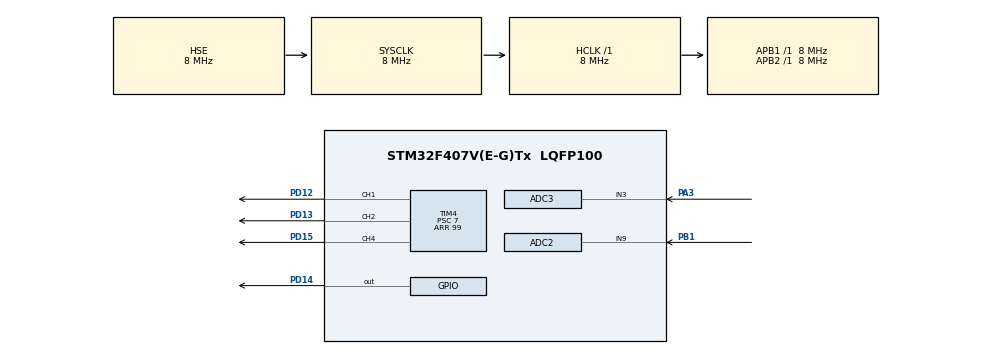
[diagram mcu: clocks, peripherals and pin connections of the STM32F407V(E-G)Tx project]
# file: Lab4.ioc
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ADC1.Channel-0\#ChannelRegularConversion=ADC_CHANNEL_TEMPSENSOR
ADC1.ContinuousConvMode=ENABLE
ADC1.EOCSelection=ADC_EOC_SEQ_CONV
ADC1.NbrOfConversionFlag=1
ADC1.Rank-0\#ChannelRegularConversion=1
ADC1.SamplingTime-0\#ChannelRegularConversion=ADC_SAMPLETIME_480CYCLES
ADC1.master=1
ADC2.Channel-0\#ChannelRegularConversion=ADC_CHANNEL_9
ADC2.EOCSelection=ADC_EOC_SEQ_CONV
ADC2.NbrOfConversionFlag=1
ADC2.Rank-0\#ChannelRegularConversion=1
ADC2.SamplingTime-0\#ChannelRegularConversion=ADC_SAMPLETIME_480CYCLES
ADC3.Channel-0\#ChannelRegularConversion=ADC_CHANNEL_3
ADC3.EOCSelection=ADC_EOC_SEQ_CONV
ADC3.NbrOfConversionFlag=1
ADC3.Rank-0\#ChannelRegularConversion=1
ADC3.SamplingTime-0\#ChannelRegularConversion=ADC_SAMPLETIME_480CYCLES
Mcu.Family=STM32F4
Mcu.Name=STM32F407V(E-G)Tx
Mcu.Package=LQFP100
NVIC.PriorityGroup=NVIC_PRIORITYGROUP_4
NVIC.TIM3_IRQn=true\:0\:0\:false\:false\:true\:true\:true
PA3.Signal=ADCx_IN3
PB1.Signal=ADCx_IN9
PD12.Signal=S_TIM4_CH1
PD13.Signal=S_TIM4_CH2
PD14.GPIO_PuPd=GPIO_PULLDOWN
PD14.Signal=GPIO_Output
PD15.Signal=S_TIM4_CH4
PH0-OSC_IN.Mode=HSE-External-Oscillator
PH0-OSC_IN.Signal=RCC_OSC_IN
PH1-OSC_OUT.Mode=HSE-External-Oscillator
PH1-OSC_OUT.Signal=RCC_OSC_OUT
ProjectManager.HeapSize=0x200
ProjectManager.StackSize=0x400
ProjectManager.TargetToolchain=STM32CubeIDE
RCC.48MHZClocksFreq_Value=24000000
RCC.AHBFreq_Value=8000000
RCC.APB1Freq_Value=8000000
RCC.APB1TimFreq_Value=8000000
RCC.APB2Freq_Value=8000000
RCC.APB2TimFreq_Value=8000000
RCC.CortexFreq_Value=8000000
RCC.HCLKFreq_Value=8000000
RCC.HSE_VALUE=8000000
RCC.HSI_VALUE=16000000
RCC.LSE_VALUE=32768
RCC.PLLSourceVirtual=RCC_PLLSOURCE_HSE
RCC.SYSCLKFreq_VALUE=8000000
RCC.SYSCLKSource=RCC_SYSCLKSOURCE_HSE
RCC.VCOOutputFreq_Value=96000000
SH.ADCx_IN3.0=ADC3_IN3,IN3
SH.ADCx_IN9.0=ADC2_IN9,IN9
SH.S_TIM4_CH1.0=TIM4_CH1,PWM Generation1 CH1
SH.S_TIM4_CH2.0=TIM4_CH2,PWM Generation2 CH2
SH.S_TIM4_CH4.0=TIM4_CH4,PWM Generation4 CH4
TIM3.AutoReloadPreload=TIM_AUTORELOAD_PRELOAD_ENABLE
TIM3.Period=499
TIM3.Prescaler=7999
TIM4.Channel-PWM\ Generation1\ CH1=TIM_CHANNEL_1
TIM4.Channel-PWM\ Generation2\ CH2=TIM_CHANNEL_2
TIM4.Channel-PWM\ Generation4\ CH4=TIM_CHANNEL_4
TIM4.Period=99
TIM4.Prescaler=7
TIM4.Pulse-PWM\ Generation1\ CH1=50
TIM4.Pulse-PWM\ Generation2\ CH2=50
TIM4.Pulse-PWM\ Generation4\ CH4=50
VP_ADC1_TempSens_Input.Mode=IN-TempSens
VP_TIM3_VS_ClockSourceINT.Mode=Internal
VP_TIM4_VS_ClockSourceINT.Mode=Internal
board=custom

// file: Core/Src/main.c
/* USER CODE BEGIN Header */
/**
  ******************************************************************************
  * @file           : main.c
  * @brief          : Main program body
  ******************************************************************************
  * @attention
  *
  * <h2><center>&copy; Copyright (c) 2021 STMicroelectronics.
  * All rights reserved.</center></h2>
  *
  * This software component is licensed by ST under BSD 3-Clause license,
  * the "License"; You may not use this file except in compliance with the
  * License. You may obtain a copy of the License at:
  *                        opensource.org/licenses/BSD-3-Clause
  *
  ******************************************************************************
  */
/* USER CODE END Header */
#include "main.h"
#include <stdbool.h>

ADC_HandleTypeDef hadc1;
ADC_HandleTypeDef hadc2;
ADC_HandleTypeDef hadc3;

TIM_HandleTypeDef htim3;
TIM_HandleTypeDef htim4;

/* USER CODE BEGIN PV */

uint16_t potentiometr_value;            //adc value from potentiometr
uint16_t internal_temp;                //adc value from internal temp sensor
uint16_t external_temp_value;         //adc value from external temp sensor

bool emergency_counter_potentiometr=0;
bool emergency_counter_internal_temp=0;
bool emergency_counter_external_temp=0;

float tCelsius_int;
float tCelsius_ext;

#define MAX_CCR 100

/* USER CODE END PV */

void SystemClock_Config(void);
static void MX_GPIO_Init(void);
static void MX_ADC1_Init(void);
static void MX_TIM4_Init(void);
static void MX_ADC2_Init(void);
static void MX_ADC3_Init(void);
static void MX_TIM3_Init(void);

/* USER CODE BEGIN 0 */

void tCelsius_int_calc(uint16_t internal_temp,bool *emergency_counter_internal_temp){

	tCelsius_int = ((3/4095.0 * internal_temp - 0.76) / 0.0025) +25.0;  //Temperature formula is C = ((V_sense - V25) / Avg_Slope) +25

	// formula for temperature is located in reference manual page 413
	// V25 = 0.76            (info from data sheet page 138)
	// Avg_Slope = 0.0025    (info from data sheet page 138)
	// V_sense = ADC_power_voltage / 4096 * readValue_from_ADC   (ADC_power_voltage = ~3V can be measured by multimeter)

	if ((tCelsius_int>35) & (*emergency_counter_internal_temp==0)){
		 *emergency_counter_internal_temp+=1;
	}
	else if ((tCelsius_int<35) & (*emergency_counter_internal_temp==1)){
		 *emergency_counter_internal_temp=0;
	}
}

void tCelsius_ext_calc(uint16_t external_temp_value,bool *emergency_counter_external_temp){

	 tCelsius_ext = (3/4095.0 * external_temp_value *-50) +100.0; //convert value to temperature in the range from -24 to 100°C.

	 if ((tCelsius_ext>35) & (*emergency_counter_external_temp==0)){
		 *emergency_counter_external_temp+=1;
	 }
	 else if ((tCelsius_ext<35) & (*emergency_counter_external_temp==1)){
		 *emergency_counter_external_temp=0;
	 }
}

void potentiometer_calc(uint16_t *potentiometr_value,bool *emergency_counter_potentiometr){

	if ((*potentiometr_value>3000) & (*emergency_counter_potentiometr==0)){
		 *emergency_counter_potentiometr+=1;
	}
	else if ((*potentiometr_value<3000) & (*emergency_counter_potentiometr==1)){
		 *emergency_counter_potentiometr=0;
	}
}

uint16_t ccr_calc_potentiometr(uint16_t potentiometr_value){             // pulse calculation (pulse depends on ADC value)
	uint16_t res = potentiometr_value * 0.024;                          //y=k*x (direct proportionality), k=4095/100=0.024, y=0.024*x
	return res;                                                        //res 0-100
}

uint16_t ccr_calc_internal_temp(uint16_t internal_temp){              // pulse calculation (pulse depends on ADC value)
	uint16_t res = internal_temp * 0.813 - 826.17;                   //linear interpolation was used to make this formula
	if (res > MAX_CCR){
		res = MAX_CCR;
	}
	return res;                                                   //res 0-100
}

uint16_t ccr_calc_external_temp(uint16_t external_temp_value){          // pulse calculation (pulse depends on ADC value)
	uint16_t res = external_temp_value * -0.131 + 275.2;               //linear interpolation was used to make this formula
	if (res > MAX_CCR){
		res = MAX_CCR;
	}
	return res;                                                     //res 0-100
}

/* USER CODE END 0 */

int main(void)
{

  /* MCU Configuration--------------------------------------------------------*/

  /* Reset of all peripherals, Initializes the Flash interface and the Systick. */
  HAL_Init();

  /* Configure the system clock */
  SystemClock_Config();

  /* Initialize all configured peripherals */
  MX_GPIO_Init();
  MX_ADC1_Init();
  MX_TIM4_Init();                     //TIM4 is used to control PWM signal on orange,blue,green LED
  MX_ADC2_Init();
  MX_ADC3_Init();
  MX_TIM3_Init();                   //TIM3 is used to control via interrupts frequency of the red LED
  /* USER CODE BEGIN 2 */

  HAL_ADC_Start(&hadc1);          //ADC for internal temperature
  HAL_ADC_Start(&hadc2);         //ADC for external temperature
  HAL_ADC_Start(&hadc3);        //ADC for potentiometer

  HAL_TIM_PWM_Start(&htim4, TIM_CHANNEL_1);         //Green LED
  HAL_TIM_PWM_Start(&htim4, TIM_CHANNEL_2);        //Orange LED
  HAL_TIM_PWM_Start(&htim4, TIM_CHANNEL_4);       //Blue LED

  HAL_TIM_Base_Start_IT(&htim3);

  volatile HAL_StatusTypeDef adcPoolResult;
  volatile HAL_StatusTypeDef adcPoolResultext;

  /* USER CODE END 2 */

  /* Infinite loop */
  /* USER CODE BEGIN WHILE */
  while (1)
  {

	     //--------------------ADC for internal temperature------------------

	    adcPoolResult = HAL_ADC_PollForConversion(&hadc1,100);

	  	if(adcPoolResult == HAL_OK){
		  internal_temp = HAL_ADC_GetValue(&hadc1);
	     }
	     else{
		   Error_Handler();
	     }

	     tCelsius_int_calc(internal_temp,&emergency_counter_internal_temp);

		 TIM4->CCR2=ccr_calc_internal_temp(internal_temp);    // when temp=17, CCR=10, when temp=26, CCR=30, when temp=50, CCR=95

		  //--------------------ADC for external temperature------------------

		  adcPoolResultext = HAL_ADC_PollForConversion(&hadc2, 1);

		  if(adcPoolResultext == HAL_OK){
			  external_temp_value = HAL_ADC_GetValue(&hadc2);
		  }
		  else{
			  Error_Handler();
		  }

		  tCelsius_ext_calc(external_temp_value,&emergency_counter_external_temp);

		  TIM4->CCR1=ccr_calc_external_temp(external_temp_value);

		  //--------------------ADC for potentiometer------------------

		  adcPoolResult = HAL_ADC_PollForConversion(&hadc3, 1);

		  if(adcPoolResult == HAL_OK){
			  potentiometr_value = HAL_ADC_GetValue(&hadc3);
		  }
		  else{
			  Error_Handler();
		  }

		  potentiometer_calc(&potentiometr_value,&emergency_counter_potentiometr);

		  TIM4->CCR4=ccr_calc_potentiometr(potentiometr_value);

    /* USER CODE END WHILE */

  }
}

void SystemClock_Config(void)
{
  RCC_OscInitTypeDef RCC_OscInitStruct = {0};
  RCC_ClkInitTypeDef RCC_ClkInitStruct = {0};

  /** Configure the main internal regulator output voltage
  */
  __HAL_RCC_PWR_CLK_ENABLE();
  __HAL_PWR_VOLTAGESCALING_CONFIG(PWR_REGULATOR_VOLTAGE_SCALE1);
  /** Initializes the RCC Oscillators according to the specified parameters
  * in the RCC_OscInitTypeDef structure.
  */
  RCC_OscInitStruct.OscillatorType = RCC_OSCILLATORTYPE_HSE;
  RCC_OscInitStruct.HSEState = RCC_HSE_ON;
  RCC_OscInitStruct.PLL.PLLState = RCC_PLL_NONE;
  if (HAL_RCC_OscConfig(&RCC_OscInitStruct) != HAL_OK)
  {
    Error_Handler();
  }
  /** Initializes the CPU, AHB and APB buses clocks
  */
  RCC_ClkInitStruct.ClockType = RCC_CLOCKTYPE_HCLK|RCC_CLOCKTYPE_SYSCLK
                              |RCC_CLOCKTYPE_PCLK1|RCC_CLOCKTYPE_PCLK2;
  RCC_ClkInitStruct.SYSCLKSource = RCC_SYSCLKSOURCE_HSE;
  RCC_ClkInitStruct.AHBCLKDivider = RCC_SYSCLK_DIV1;
  RCC_ClkInitStruct.APB1CLKDivider = RCC_HCLK_DIV1;
  RCC_ClkInitStruct.APB2CLKDivider = RCC_HCLK_DIV1;

  if (HAL_RCC_ClockConfig(&RCC_ClkInitStruct, FLASH_LATENCY_0) != HAL_OK)
  {
    Error_Handler();
  }
}

static void MX_ADC1_Init(void)
{

  ADC_ChannelConfTypeDef sConfig = {0};

  /** Configure the global features of the ADC (Clock, Resolution, Data Alignment and number of conversion)
  */
  hadc1.Instance = ADC1;
  hadc1.Init.ClockPrescaler = ADC_CLOCK_SYNC_PCLK_DIV2;
  hadc1.Init.Resolution = ADC_RESOLUTION_12B;
  hadc1.Init.ScanConvMode = DISABLE;
  hadc1.Init.ContinuousConvMode = ENABLE;
  hadc1.Init.DiscontinuousConvMode = DISABLE;
  hadc1.Init.ExternalTrigConvEdge = ADC_EXTERNALTRIGCONVEDGE_NONE;
  hadc1.Init.ExternalTrigConv = ADC_SOFTWARE_START;
  hadc1.Init.DataAlign = ADC_DATAALIGN_RIGHT;
  hadc1.Init.NbrOfConversion = 1;
  hadc1.Init.DMAContinuousRequests = DISABLE;
  hadc1.Init.EOCSelection = ADC_EOC_SEQ_CONV;
  if (HAL_ADC_Init(&hadc1) != HAL_OK)
  {
    Error_Handler();
  }
  /** Configure for the selected ADC regular channel its corresponding rank in the sequencer and its sample time.
  */
  sConfig.Channel = ADC_CHANNEL_TEMPSENSOR;
  sConfig.Rank = 1;
  sConfig.SamplingTime = ADC_SAMPLETIME_480CYCLES;
  if (HAL_ADC_ConfigChannel(&hadc1, &sConfig) != HAL_OK)
  {
    Error_Handler();
  }

}

static void MX_ADC2_Init(void)
{

  ADC_ChannelConfTypeDef sConfig = {0};

  /** Configure the global features of the ADC (Clock, Resolution, Data Alignment and number of conversion)
  */
  hadc2.Instance = ADC2;
  hadc2.Init.ClockPrescaler = ADC_CLOCK_SYNC_PCLK_DIV2;
  hadc2.Init.Resolution = ADC_RESOLUTION_12B;
  hadc2.Init.ScanConvMode = DISABLE;
  hadc2.Init.ContinuousConvMode = ENABLE;
  hadc2.Init.DiscontinuousConvMode = DISABLE;
  hadc2.Init.ExternalTrigConvEdge = ADC_EXTERNALTRIGCONVEDGE_NONE;
  hadc2.Init.ExternalTrigConv = ADC_SOFTWARE_START;
  hadc2.Init.DataAlign = ADC_DATAALIGN_RIGHT;
  hadc2.Init.NbrOfConversion = 1;
  hadc2.Init.DMAContinuousRequests = DISABLE;
  hadc2.Init.EOCSelection = ADC_EOC_SEQ_CONV;    //it used to make 1 ADC request or continous
  if (HAL_ADC_Init(&hadc2) != HAL_OK)
  {
    Error_Handler();
  }
  /** Configure for the selected ADC regular channel its corresponding rank in the sequencer and its sample time.
  */
  sConfig.Channel = ADC_CHANNEL_9;
  sConfig.Rank = 1;
  sConfig.SamplingTime = ADC_SAMPLETIME_480CYCLES;
  if (HAL_ADC_ConfigChannel(&hadc2, &sConfig) != HAL_OK)
  {
    Error_Handler();
  }

}

static void MX_ADC3_Init(void)
{

  ADC_ChannelConfTypeDef sConfig = {0};

  /** Configure the global features of the ADC (Clock, Resolution, Data Alignment and number of conversion)
  */
  hadc3.Instance = ADC3;
  hadc3.Init.ClockPrescaler = ADC_CLOCK_SYNC_PCLK_DIV2;
  hadc3.Init.Resolution = ADC_RESOLUTION_12B;
  hadc3.Init.ScanConvMode = DISABLE;
  hadc3.Init.ContinuousConvMode = ENABLE;
  hadc3.Init.DiscontinuousConvMode = DISABLE;
  hadc3.Init.ExternalTrigConvEdge = ADC_EXTERNALTRIGCONVEDGE_NONE;
  hadc3.Init.ExternalTrigConv = ADC_SOFTWARE_START;
  hadc3.Init.DataAlign = ADC_DATAALIGN_RIGHT;
  hadc3.Init.NbrOfConversion = 1;
  hadc3.Init.DMAContinuousRequests = DISABLE;
  hadc3.Init.EOCSelection = ADC_EOC_SEQ_CONV;
  if (HAL_ADC_Init(&hadc3) != HAL_OK)
  {
    Error_Handler();
  }
  /** Configure for the selected ADC regular channel its corresponding rank in the sequencer and its sample time.
  */
  sConfig.Channel = ADC_CHANNEL_3;
  sConfig.Rank = 1;
  sConfig.SamplingTime = ADC_SAMPLETIME_480CYCLES;
  if (HAL_ADC_ConfigChannel(&hadc3, &sConfig) != HAL_OK)
  {
    Error_Handler();
  }

}

static void MX_TIM3_Init(void)
{

  TIM_ClockConfigTypeDef sClockSourceConfig = {0};
  TIM_MasterConfigTypeDef sMasterConfig = {0};

  htim3.Instance = TIM3;
  htim3.Init.Prescaler = 7999;
  htim3.Init.CounterMode = TIM_COUNTERMODE_UP;
  htim3.Init.Period = 499;
  htim3.Init.ClockDivision = TIM_CLOCKDIVISION_DIV1;
  htim3.Init.AutoReloadPreload = TIM_AUTORELOAD_PRELOAD_ENABLE;
  if (HAL_TIM_Base_Init(&htim3) != HAL_OK)
  {
    Error_Handler();
  }
  sClockSourceConfig.ClockSource = TIM_CLOCKSOURCE_INTERNAL;
  if (HAL_TIM_ConfigClockSource(&htim3, &sClockSourceConfig) != HAL_OK)
  {
    Error_Handler();
  }
  sMasterConfig.MasterOutputTrigger = TIM_TRGO_RESET;
  sMasterConfig.MasterSlaveMode = TIM_MASTERSLAVEMODE_DISABLE;
  if (HAL_TIMEx_MasterConfigSynchronization(&htim3, &sMasterConfig) != HAL_OK)
  {
    Error_Handler();
  }

}

static void MX_TIM4_Init(void)
{

  TIM_ClockConfigTypeDef sClockSourceConfig = {0};
  TIM_MasterConfigTypeDef sMasterConfig = {0};
  TIM_OC_InitTypeDef sConfigOC = {0};

  htim4.Instance = TIM4;
  htim4.Init.Prescaler = 7;
  htim4.Init.CounterMode = TIM_COUNTERMODE_UP;
  htim4.Init.Period = 99;
  htim4.Init.ClockDivision = TIM_CLOCKDIVISION_DIV1;
  htim4.Init.AutoReloadPreload = TIM_AUTORELOAD_PRELOAD_DISABLE;
  if (HAL_TIM_Base_Init(&htim4) != HAL_OK)
  {
    Error_Handler();
  }
  sClockSourceConfig.ClockSource = TIM_CLOCKSOURCE_INTERNAL;
  if (HAL_TIM_ConfigClockSource(&htim4, &sClockSourceConfig) != HAL_OK)
  {
    Error_Handler();
  }
  if (HAL_TIM_PWM_Init(&htim4) != HAL_OK)
  {
    Error_Handler();
  }
  sMasterConfig.MasterOutputTrigger = TIM_TRGO_RESET;
  sMasterConfig.MasterSlaveMode = TIM_MASTERSLAVEMODE_DISABLE;
  if (HAL_TIMEx_MasterConfigSynchronization(&htim4, &sMasterConfig) != HAL_OK)
  {
    Error_Handler();
  }
  sConfigOC.OCMode = TIM_OCMODE_PWM1;
  sConfigOC.Pulse = 50;
  sConfigOC.OCPolarity = TIM_OCPOLARITY_HIGH;
  sConfigOC.OCFastMode = TIM_OCFAST_DISABLE;
  if (HAL_TIM_PWM_ConfigChannel(&htim4, &sConfigOC, TIM_CHANNEL_1) != HAL_OK)
  {
    Error_Handler();
  }
  if (HAL_TIM_PWM_ConfigChannel(&htim4, &sConfigOC, TIM_CHANNEL_2) != HAL_OK)
  {
    Error_Handler();
  }
  if (HAL_TIM_PWM_ConfigChannel(&htim4, &sConfigOC, TIM_CHANNEL_4) != HAL_OK)
  {
    Error_Handler();
  }
  HAL_TIM_MspPostInit(&htim4);

}

static void MX_GPIO_Init(void)
{
  GPIO_InitTypeDef GPIO_InitStruct = {0};

  /* GPIO Ports Clock Enable */
  __HAL_RCC_GPIOH_CLK_ENABLE();
  __HAL_RCC_GPIOA_CLK_ENABLE();
  __HAL_RCC_GPIOB_CLK_ENABLE();
  __HAL_RCC_GPIOD_CLK_ENABLE();

  /*Configure GPIO pin Output Level */
  HAL_GPIO_WritePin(GPIOD, GPIO_PIN_14, GPIO_PIN_RESET);

  /*Configure GPIO pin : PD14 */
  GPIO_InitStruct.Pin = GPIO_PIN_14;
  GPIO_InitStruct.Mode = GPIO_MODE_OUTPUT_PP;
  GPIO_InitStruct.Pull = GPIO_PULLDOWN;
  GPIO_InitStruct.Speed = GPIO_SPEED_FREQ_LOW;
  HAL_GPIO_Init(GPIOD, &GPIO_InitStruct);

}

void Error_Handler(void)
{
  __disable_irq();
  while (1)
  {
  }
}

/************************ (C) COPYRIGHT STMicroelectronics *****END OF FILE****/
